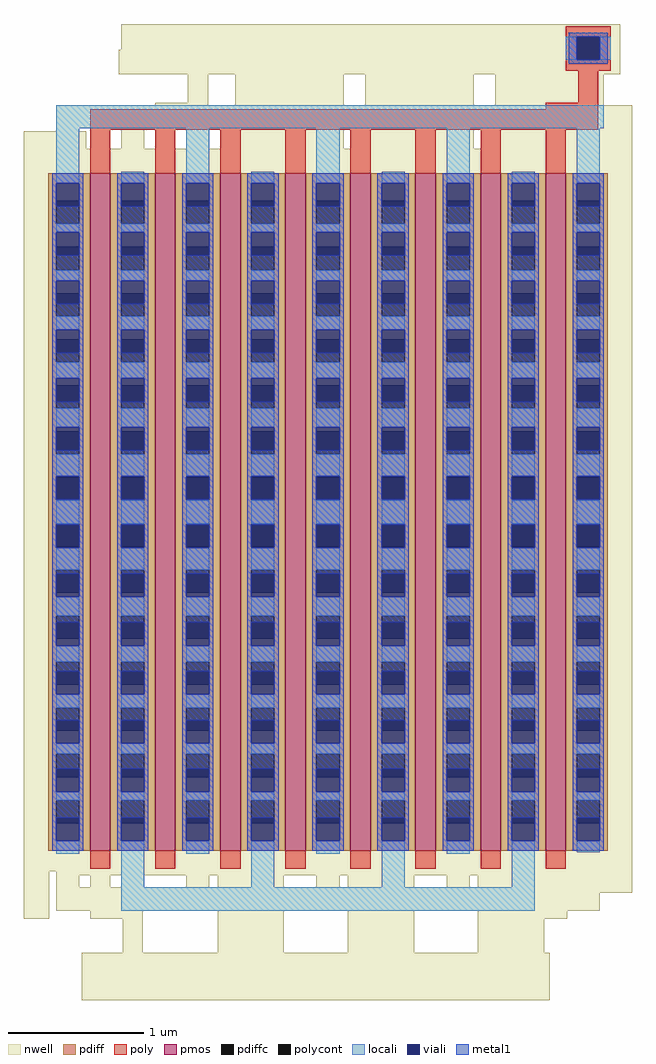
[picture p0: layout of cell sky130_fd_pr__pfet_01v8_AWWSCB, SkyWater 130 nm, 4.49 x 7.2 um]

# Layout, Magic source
magic
tech sky130A
magscale 1 2
<< nwell >>
rect -305 682 431 720
rect -309 646 431 682
rect -207 604 -177 646
rect -255 600 -177 604
rect -137 600 23 646
rect 55 600 215 646
rect 247 600 407 646
rect -401 566 449 600
rect -401 562 -367 566
rect -351 564 449 566
rect -449 536 -357 562
rect -351 536 -321 564
rect -305 536 -271 564
rect -255 536 -225 564
rect -209 536 -175 564
rect -159 536 23 564
rect 33 536 215 564
rect 225 536 449 564
rect -449 -530 449 536
rect -449 -600 -411 -530
rect -401 -536 449 -530
rect -401 -554 -367 -536
rect -351 -554 -321 -536
rect -305 -554 -271 -536
rect -209 -554 -175 -536
rect -163 -554 -65 -536
rect -17 -554 17 -536
rect 29 -554 127 -536
rect 175 -554 209 -536
rect 221 -554 449 -536
rect -401 -562 449 -554
rect -401 -588 401 -562
rect -351 -600 -273 -588
rect -303 -650 -273 -600
rect -163 -650 -65 -588
rect 29 -650 127 -588
rect 221 -600 353 -588
rect 221 -650 319 -600
rect -363 -720 327 -650
<< pmos >>
rect -351 -500 -321 500
rect -255 -500 -225 500
rect -159 -500 -129 500
rect -63 -500 -33 500
rect 33 -500 63 500
rect 129 -500 159 500
rect 225 -500 255 500
rect 321 -500 351 500
<< pdiff >>
rect -413 459 -351 500
rect -413 425 -401 459
rect -367 425 -351 459
rect -413 391 -351 425
rect -413 357 -401 391
rect -367 357 -351 391
rect -413 323 -351 357
rect -413 289 -401 323
rect -367 289 -351 323
rect -413 255 -351 289
rect -413 221 -401 255
rect -367 221 -351 255
rect -413 187 -351 221
rect -413 153 -401 187
rect -367 153 -351 187
rect -413 119 -351 153
rect -413 85 -401 119
rect -367 85 -351 119
rect -413 51 -351 85
rect -413 17 -401 51
rect -367 17 -351 51
rect -413 -17 -351 17
rect -413 -51 -401 -17
rect -367 -51 -351 -17
rect -413 -85 -351 -51
rect -413 -119 -401 -85
rect -367 -119 -351 -85
rect -413 -153 -351 -119
rect -413 -187 -401 -153
rect -367 -187 -351 -153
rect -413 -221 -351 -187
rect -413 -255 -401 -221
rect -367 -255 -351 -221
rect -413 -289 -351 -255
rect -413 -323 -401 -289
rect -367 -323 -351 -289
rect -413 -357 -351 -323
rect -413 -391 -401 -357
rect -367 -391 -351 -357
rect -413 -425 -351 -391
rect -413 -459 -401 -425
rect -367 -459 -351 -425
rect -413 -500 -351 -459
rect -321 459 -255 500
rect -321 425 -305 459
rect -271 425 -255 459
rect -321 391 -255 425
rect -321 357 -305 391
rect -271 357 -255 391
rect -321 323 -255 357
rect -321 289 -305 323
rect -271 289 -255 323
rect -321 255 -255 289
rect -321 221 -305 255
rect -271 221 -255 255
rect -321 187 -255 221
rect -321 153 -305 187
rect -271 153 -255 187
rect -321 119 -255 153
rect -321 85 -305 119
rect -271 85 -255 119
rect -321 51 -255 85
rect -321 17 -305 51
rect -271 17 -255 51
rect -321 -17 -255 17
rect -321 -51 -305 -17
rect -271 -51 -255 -17
rect -321 -85 -255 -51
rect -321 -119 -305 -85
rect -271 -119 -255 -85
rect -321 -153 -255 -119
rect -321 -187 -305 -153
rect -271 -187 -255 -153
rect -321 -221 -255 -187
rect -321 -255 -305 -221
rect -271 -255 -255 -221
rect -321 -289 -255 -255
rect -321 -323 -305 -289
rect -271 -323 -255 -289
rect -321 -357 -255 -323
rect -321 -391 -305 -357
rect -271 -391 -255 -357
rect -321 -425 -255 -391
rect -321 -459 -305 -425
rect -271 -459 -255 -425
rect -321 -500 -255 -459
rect -225 459 -159 500
rect -225 425 -209 459
rect -175 425 -159 459
rect -225 391 -159 425
rect -225 357 -209 391
rect -175 357 -159 391
rect -225 323 -159 357
rect -225 289 -209 323
rect -175 289 -159 323
rect -225 255 -159 289
rect -225 221 -209 255
rect -175 221 -159 255
rect -225 187 -159 221
rect -225 153 -209 187
rect -175 153 -159 187
rect -225 119 -159 153
rect -225 85 -209 119
rect -175 85 -159 119
rect -225 51 -159 85
rect -225 17 -209 51
rect -175 17 -159 51
rect -225 -17 -159 17
rect -225 -51 -209 -17
rect -175 -51 -159 -17
rect -225 -85 -159 -51
rect -225 -119 -209 -85
rect -175 -119 -159 -85
rect -225 -153 -159 -119
rect -225 -187 -209 -153
rect -175 -187 -159 -153
rect -225 -221 -159 -187
rect -225 -255 -209 -221
rect -175 -255 -159 -221
rect -225 -289 -159 -255
rect -225 -323 -209 -289
rect -175 -323 -159 -289
rect -225 -357 -159 -323
rect -225 -391 -209 -357
rect -175 -391 -159 -357
rect -225 -425 -159 -391
rect -225 -459 -209 -425
rect -175 -459 -159 -425
rect -225 -500 -159 -459
rect -129 459 -63 500
rect -129 425 -113 459
rect -79 425 -63 459
rect -129 391 -63 425
rect -129 357 -113 391
rect -79 357 -63 391
rect -129 323 -63 357
rect -129 289 -113 323
rect -79 289 -63 323
rect -129 255 -63 289
rect -129 221 -113 255
rect -79 221 -63 255
rect -129 187 -63 221
rect -129 153 -113 187
rect -79 153 -63 187
rect -129 119 -63 153
rect -129 85 -113 119
rect -79 85 -63 119
rect -129 51 -63 85
rect -129 17 -113 51
rect -79 17 -63 51
rect -129 -17 -63 17
rect -129 -51 -113 -17
rect -79 -51 -63 -17
rect -129 -85 -63 -51
rect -129 -119 -113 -85
rect -79 -119 -63 -85
rect -129 -153 -63 -119
rect -129 -187 -113 -153
rect -79 -187 -63 -153
rect -129 -221 -63 -187
rect -129 -255 -113 -221
rect -79 -255 -63 -221
rect -129 -289 -63 -255
rect -129 -323 -113 -289
rect -79 -323 -63 -289
rect -129 -357 -63 -323
rect -129 -391 -113 -357
rect -79 -391 -63 -357
rect -129 -425 -63 -391
rect -129 -459 -113 -425
rect -79 -459 -63 -425
rect -129 -500 -63 -459
rect -33 459 33 500
rect -33 425 -17 459
rect 17 425 33 459
rect -33 391 33 425
rect -33 357 -17 391
rect 17 357 33 391
rect -33 323 33 357
rect -33 289 -17 323
rect 17 289 33 323
rect -33 255 33 289
rect -33 221 -17 255
rect 17 221 33 255
rect -33 187 33 221
rect -33 153 -17 187
rect 17 153 33 187
rect -33 119 33 153
rect -33 85 -17 119
rect 17 85 33 119
rect -33 51 33 85
rect -33 17 -17 51
rect 17 17 33 51
rect -33 -17 33 17
rect -33 -51 -17 -17
rect 17 -51 33 -17
rect -33 -85 33 -51
rect -33 -119 -17 -85
rect 17 -119 33 -85
rect -33 -153 33 -119
rect -33 -187 -17 -153
rect 17 -187 33 -153
rect -33 -221 33 -187
rect -33 -255 -17 -221
rect 17 -255 33 -221
rect -33 -289 33 -255
rect -33 -323 -17 -289
rect 17 -323 33 -289
rect -33 -357 33 -323
rect -33 -391 -17 -357
rect 17 -391 33 -357
rect -33 -425 33 -391
rect -33 -459 -17 -425
rect 17 -459 33 -425
rect -33 -500 33 -459
rect 63 459 129 500
rect 63 425 79 459
rect 113 425 129 459
rect 63 391 129 425
rect 63 357 79 391
rect 113 357 129 391
rect 63 323 129 357
rect 63 289 79 323
rect 113 289 129 323
rect 63 255 129 289
rect 63 221 79 255
rect 113 221 129 255
rect 63 187 129 221
rect 63 153 79 187
rect 113 153 129 187
rect 63 119 129 153
rect 63 85 79 119
rect 113 85 129 119
rect 63 51 129 85
rect 63 17 79 51
rect 113 17 129 51
rect 63 -17 129 17
rect 63 -51 79 -17
rect 113 -51 129 -17
rect 63 -85 129 -51
rect 63 -119 79 -85
rect 113 -119 129 -85
rect 63 -153 129 -119
rect 63 -187 79 -153
rect 113 -187 129 -153
rect 63 -221 129 -187
rect 63 -255 79 -221
rect 113 -255 129 -221
rect 63 -289 129 -255
rect 63 -323 79 -289
rect 113 -323 129 -289
rect 63 -357 129 -323
rect 63 -391 79 -357
rect 113 -391 129 -357
rect 63 -425 129 -391
rect 63 -459 79 -425
rect 113 -459 129 -425
rect 63 -500 129 -459
rect 159 459 225 500
rect 159 425 175 459
rect 209 425 225 459
rect 159 391 225 425
rect 159 357 175 391
rect 209 357 225 391
rect 159 323 225 357
rect 159 289 175 323
rect 209 289 225 323
rect 159 255 225 289
rect 159 221 175 255
rect 209 221 225 255
rect 159 187 225 221
rect 159 153 175 187
rect 209 153 225 187
rect 159 119 225 153
rect 159 85 175 119
rect 209 85 225 119
rect 159 51 225 85
rect 159 17 175 51
rect 209 17 225 51
rect 159 -17 225 17
rect 159 -51 175 -17
rect 209 -51 225 -17
rect 159 -85 225 -51
rect 159 -119 175 -85
rect 209 -119 225 -85
rect 159 -153 225 -119
rect 159 -187 175 -153
rect 209 -187 225 -153
rect 159 -221 225 -187
rect 159 -255 175 -221
rect 209 -255 225 -221
rect 159 -289 225 -255
rect 159 -323 175 -289
rect 209 -323 225 -289
rect 159 -357 225 -323
rect 159 -391 175 -357
rect 209 -391 225 -357
rect 159 -425 225 -391
rect 159 -459 175 -425
rect 209 -459 225 -425
rect 159 -500 225 -459
rect 255 459 321 500
rect 255 425 271 459
rect 305 425 321 459
rect 255 391 321 425
rect 255 357 271 391
rect 305 357 321 391
rect 255 323 321 357
rect 255 289 271 323
rect 305 289 321 323
rect 255 255 321 289
rect 255 221 271 255
rect 305 221 321 255
rect 255 187 321 221
rect 255 153 271 187
rect 305 153 321 187
rect 255 119 321 153
rect 255 85 271 119
rect 305 85 321 119
rect 255 51 321 85
rect 255 17 271 51
rect 305 17 321 51
rect 255 -17 321 17
rect 255 -51 271 -17
rect 305 -51 321 -17
rect 255 -85 321 -51
rect 255 -119 271 -85
rect 305 -119 321 -85
rect 255 -153 321 -119
rect 255 -187 271 -153
rect 305 -187 321 -153
rect 255 -221 321 -187
rect 255 -255 271 -221
rect 305 -255 321 -221
rect 255 -289 321 -255
rect 255 -323 271 -289
rect 305 -323 321 -289
rect 255 -357 321 -323
rect 255 -391 271 -357
rect 305 -391 321 -357
rect 255 -425 321 -391
rect 255 -459 271 -425
rect 305 -459 321 -425
rect 255 -500 321 -459
rect 351 459 413 500
rect 351 425 367 459
rect 401 425 413 459
rect 351 391 413 425
rect 351 357 367 391
rect 401 357 413 391
rect 351 323 413 357
rect 351 289 367 323
rect 401 289 413 323
rect 351 255 413 289
rect 351 221 367 255
rect 401 221 413 255
rect 351 187 413 221
rect 351 153 367 187
rect 401 153 413 187
rect 351 119 413 153
rect 351 85 367 119
rect 401 85 413 119
rect 351 51 413 85
rect 351 17 367 51
rect 401 17 413 51
rect 351 -17 413 17
rect 351 -51 367 -17
rect 401 -51 413 -17
rect 351 -85 413 -51
rect 351 -119 367 -85
rect 401 -119 413 -85
rect 351 -153 413 -119
rect 351 -187 367 -153
rect 401 -187 413 -153
rect 351 -221 413 -187
rect 351 -255 367 -221
rect 401 -255 413 -221
rect 351 -289 413 -255
rect 351 -323 367 -289
rect 401 -323 413 -289
rect 351 -357 413 -323
rect 351 -391 367 -357
rect 401 -391 413 -357
rect 351 -425 413 -391
rect 351 -459 367 -425
rect 401 -459 413 -425
rect 351 -500 413 -459
<< pdiffc >>
rect -401 425 -367 459
rect -401 357 -367 391
rect -401 289 -367 323
rect -401 221 -367 255
rect -401 153 -367 187
rect -401 85 -367 119
rect -401 17 -367 51
rect -401 -51 -367 -17
rect -401 -119 -367 -85
rect -401 -187 -367 -153
rect -401 -255 -367 -221
rect -401 -323 -367 -289
rect -401 -391 -367 -357
rect -401 -459 -367 -425
rect -305 425 -271 459
rect -305 357 -271 391
rect -305 289 -271 323
rect -305 221 -271 255
rect -305 153 -271 187
rect -305 85 -271 119
rect -305 17 -271 51
rect -305 -51 -271 -17
rect -305 -119 -271 -85
rect -305 -187 -271 -153
rect -305 -255 -271 -221
rect -305 -323 -271 -289
rect -305 -391 -271 -357
rect -305 -459 -271 -425
rect -209 425 -175 459
rect -209 357 -175 391
rect -209 289 -175 323
rect -209 221 -175 255
rect -209 153 -175 187
rect -209 85 -175 119
rect -209 17 -175 51
rect -209 -51 -175 -17
rect -209 -119 -175 -85
rect -209 -187 -175 -153
rect -209 -255 -175 -221
rect -209 -323 -175 -289
rect -209 -391 -175 -357
rect -209 -459 -175 -425
rect -113 425 -79 459
rect -113 357 -79 391
rect -113 289 -79 323
rect -113 221 -79 255
rect -113 153 -79 187
rect -113 85 -79 119
rect -113 17 -79 51
rect -113 -51 -79 -17
rect -113 -119 -79 -85
rect -113 -187 -79 -153
rect -113 -255 -79 -221
rect -113 -323 -79 -289
rect -113 -391 -79 -357
rect -113 -459 -79 -425
rect -17 425 17 459
rect -17 357 17 391
rect -17 289 17 323
rect -17 221 17 255
rect -17 153 17 187
rect -17 85 17 119
rect -17 17 17 51
rect -17 -51 17 -17
rect -17 -119 17 -85
rect -17 -187 17 -153
rect -17 -255 17 -221
rect -17 -323 17 -289
rect -17 -391 17 -357
rect -17 -459 17 -425
rect 79 425 113 459
rect 79 357 113 391
rect 79 289 113 323
rect 79 221 113 255
rect 79 153 113 187
rect 79 85 113 119
rect 79 17 113 51
rect 79 -51 113 -17
rect 79 -119 113 -85
rect 79 -187 113 -153
rect 79 -255 113 -221
rect 79 -323 113 -289
rect 79 -391 113 -357
rect 79 -459 113 -425
rect 175 425 209 459
rect 175 357 209 391
rect 175 289 209 323
rect 175 221 209 255
rect 175 153 209 187
rect 175 85 209 119
rect 175 17 209 51
rect 175 -51 209 -17
rect 175 -119 209 -85
rect 175 -187 209 -153
rect 175 -255 209 -221
rect 175 -323 209 -289
rect 175 -391 209 -357
rect 175 -459 209 -425
rect 271 425 305 459
rect 271 357 305 391
rect 271 289 305 323
rect 271 221 305 255
rect 271 153 305 187
rect 271 85 305 119
rect 271 17 305 51
rect 271 -51 305 -17
rect 271 -119 305 -85
rect 271 -187 305 -153
rect 271 -255 305 -221
rect 271 -323 305 -289
rect 271 -391 305 -357
rect 271 -459 305 -425
rect 367 425 401 459
rect 367 357 401 391
rect 367 289 401 323
rect 367 221 401 255
rect 367 153 401 187
rect 367 85 401 119
rect 367 17 401 51
rect 367 -51 401 -17
rect 367 -119 401 -85
rect 367 -187 401 -153
rect 367 -255 401 -221
rect 367 -323 401 -289
rect 367 -391 401 -357
rect 367 -459 401 -425
<< poly >>
rect 351 701 417 717
rect 351 667 367 701
rect 401 667 417 701
rect 351 651 417 667
rect 369 604 399 651
rect 321 594 399 604
rect -351 564 399 594
rect -351 500 -321 564
rect -255 500 -225 564
rect -159 500 -129 564
rect -63 500 -33 564
rect 33 500 63 564
rect 129 500 159 564
rect 225 500 255 564
rect 321 500 351 564
rect -351 -526 -321 -500
rect -255 -526 -225 -500
rect -159 -526 -129 -500
rect -63 -526 -33 -500
rect 33 -526 63 -500
rect 129 -526 159 -500
rect 225 -526 255 -500
rect 321 -526 351 -500
<< polycont >>
rect 367 667 401 701
<< locali >>
rect 351 667 367 701
rect 401 667 417 701
rect -401 566 407 600
rect -401 485 -367 566
rect -401 413 -367 425
rect -401 341 -367 357
rect -401 269 -367 289
rect -401 197 -367 221
rect -401 125 -367 153
rect -401 53 -367 85
rect -401 -17 -367 17
rect -401 -85 -367 -53
rect -401 -153 -367 -125
rect -401 -221 -367 -197
rect -401 -289 -367 -269
rect -401 -357 -367 -341
rect -401 -425 -367 -413
rect -401 -504 -367 -485
rect -305 485 -271 502
rect -305 413 -271 425
rect -305 341 -271 357
rect -305 269 -271 289
rect -305 197 -271 221
rect -305 125 -271 153
rect -305 53 -271 85
rect -305 -17 -271 17
rect -305 -85 -271 -53
rect -305 -153 -271 -125
rect -305 -221 -271 -197
rect -305 -289 -271 -269
rect -305 -357 -271 -341
rect -305 -425 -271 -413
rect -305 -554 -271 -485
rect -209 485 -175 566
rect -209 413 -175 425
rect -209 341 -175 357
rect -209 269 -175 289
rect -209 197 -175 221
rect -209 125 -175 153
rect -209 53 -175 85
rect -209 -17 -175 17
rect -209 -85 -175 -53
rect -209 -153 -175 -125
rect -209 -221 -175 -197
rect -209 -289 -175 -269
rect -209 -357 -175 -341
rect -209 -425 -175 -413
rect -209 -504 -175 -485
rect -113 485 -79 502
rect -113 413 -79 425
rect -113 341 -79 357
rect -113 269 -79 289
rect -113 197 -79 221
rect -113 125 -79 153
rect -113 53 -79 85
rect -113 -17 -79 17
rect -113 -85 -79 -53
rect -113 -153 -79 -125
rect -113 -221 -79 -197
rect -113 -289 -79 -269
rect -113 -357 -79 -341
rect -113 -425 -79 -413
rect -113 -554 -79 -485
rect -17 485 17 566
rect -17 413 17 425
rect -17 341 17 357
rect -17 269 17 289
rect -17 197 17 221
rect -17 125 17 153
rect -17 53 17 85
rect -17 -17 17 17
rect -17 -85 17 -53
rect -17 -153 17 -125
rect -17 -221 17 -197
rect -17 -289 17 -269
rect -17 -357 17 -341
rect -17 -425 17 -413
rect -17 -504 17 -485
rect 79 485 113 502
rect 79 413 113 425
rect 79 341 113 357
rect 79 269 113 289
rect 79 197 113 221
rect 79 125 113 153
rect 79 53 113 85
rect 79 -17 113 17
rect 79 -85 113 -53
rect 79 -153 113 -125
rect 79 -221 113 -197
rect 79 -289 113 -269
rect 79 -357 113 -341
rect 79 -425 113 -413
rect 79 -554 113 -485
rect 175 485 209 566
rect 175 413 209 425
rect 175 341 209 357
rect 175 269 209 289
rect 175 197 209 221
rect 175 125 209 153
rect 175 53 209 85
rect 175 -17 209 17
rect 175 -85 209 -53
rect 175 -153 209 -125
rect 175 -221 209 -197
rect 175 -289 209 -269
rect 175 -357 209 -341
rect 175 -425 209 -413
rect 175 -504 209 -485
rect 271 485 305 502
rect 271 413 305 425
rect 271 341 305 357
rect 271 269 305 289
rect 271 197 305 221
rect 271 125 305 153
rect 271 53 305 85
rect 271 -17 305 17
rect 271 -85 305 -53
rect 271 -153 305 -125
rect 271 -221 305 -197
rect 271 -289 305 -269
rect 271 -357 305 -341
rect 271 -425 305 -413
rect 271 -554 305 -485
rect 367 485 401 566
rect 367 413 401 425
rect 367 341 401 357
rect 367 269 401 289
rect 367 197 401 221
rect 367 125 401 153
rect 367 53 401 85
rect 367 -17 401 17
rect 367 -85 401 -53
rect 367 -153 401 -125
rect 367 -221 401 -197
rect 367 -289 401 -269
rect 367 -357 401 -341
rect 367 -425 401 -413
rect 367 -502 401 -485
rect -305 -588 305 -554
<< viali >>
rect 367 667 401 701
rect -401 459 -367 485
rect -401 451 -367 459
rect -401 391 -367 413
rect -401 379 -367 391
rect -401 323 -367 341
rect -401 307 -367 323
rect -401 255 -367 269
rect -401 235 -367 255
rect -401 187 -367 197
rect -401 163 -367 187
rect -401 119 -367 125
rect -401 91 -367 119
rect -401 51 -367 53
rect -401 19 -367 51
rect -401 -51 -367 -19
rect -401 -53 -367 -51
rect -401 -119 -367 -91
rect -401 -125 -367 -119
rect -401 -187 -367 -163
rect -401 -197 -367 -187
rect -401 -255 -367 -235
rect -401 -269 -367 -255
rect -401 -323 -367 -307
rect -401 -341 -367 -323
rect -401 -391 -367 -379
rect -401 -413 -367 -391
rect -401 -459 -367 -451
rect -401 -485 -367 -459
rect -305 459 -271 485
rect -305 451 -271 459
rect -305 391 -271 413
rect -305 379 -271 391
rect -305 323 -271 341
rect -305 307 -271 323
rect -305 255 -271 269
rect -305 235 -271 255
rect -305 187 -271 197
rect -305 163 -271 187
rect -305 119 -271 125
rect -305 91 -271 119
rect -305 51 -271 53
rect -305 19 -271 51
rect -305 -51 -271 -19
rect -305 -53 -271 -51
rect -305 -119 -271 -91
rect -305 -125 -271 -119
rect -305 -187 -271 -163
rect -305 -197 -271 -187
rect -305 -255 -271 -235
rect -305 -269 -271 -255
rect -305 -323 -271 -307
rect -305 -341 -271 -323
rect -305 -391 -271 -379
rect -305 -413 -271 -391
rect -305 -459 -271 -451
rect -305 -485 -271 -459
rect -209 459 -175 485
rect -209 451 -175 459
rect -209 391 -175 413
rect -209 379 -175 391
rect -209 323 -175 341
rect -209 307 -175 323
rect -209 255 -175 269
rect -209 235 -175 255
rect -209 187 -175 197
rect -209 163 -175 187
rect -209 119 -175 125
rect -209 91 -175 119
rect -209 51 -175 53
rect -209 19 -175 51
rect -209 -51 -175 -19
rect -209 -53 -175 -51
rect -209 -119 -175 -91
rect -209 -125 -175 -119
rect -209 -187 -175 -163
rect -209 -197 -175 -187
rect -209 -255 -175 -235
rect -209 -269 -175 -255
rect -209 -323 -175 -307
rect -209 -341 -175 -323
rect -209 -391 -175 -379
rect -209 -413 -175 -391
rect -209 -459 -175 -451
rect -209 -485 -175 -459
rect -113 459 -79 485
rect -113 451 -79 459
rect -113 391 -79 413
rect -113 379 -79 391
rect -113 323 -79 341
rect -113 307 -79 323
rect -113 255 -79 269
rect -113 235 -79 255
rect -113 187 -79 197
rect -113 163 -79 187
rect -113 119 -79 125
rect -113 91 -79 119
rect -113 51 -79 53
rect -113 19 -79 51
rect -113 -51 -79 -19
rect -113 -53 -79 -51
rect -113 -119 -79 -91
rect -113 -125 -79 -119
rect -113 -187 -79 -163
rect -113 -197 -79 -187
rect -113 -255 -79 -235
rect -113 -269 -79 -255
rect -113 -323 -79 -307
rect -113 -341 -79 -323
rect -113 -391 -79 -379
rect -113 -413 -79 -391
rect -113 -459 -79 -451
rect -113 -485 -79 -459
rect -17 459 17 485
rect -17 451 17 459
rect -17 391 17 413
rect -17 379 17 391
rect -17 323 17 341
rect -17 307 17 323
rect -17 255 17 269
rect -17 235 17 255
rect -17 187 17 197
rect -17 163 17 187
rect -17 119 17 125
rect -17 91 17 119
rect -17 51 17 53
rect -17 19 17 51
rect -17 -51 17 -19
rect -17 -53 17 -51
rect -17 -119 17 -91
rect -17 -125 17 -119
rect -17 -187 17 -163
rect -17 -197 17 -187
rect -17 -255 17 -235
rect -17 -269 17 -255
rect -17 -323 17 -307
rect -17 -341 17 -323
rect -17 -391 17 -379
rect -17 -413 17 -391
rect -17 -459 17 -451
rect -17 -485 17 -459
rect 79 459 113 485
rect 79 451 113 459
rect 79 391 113 413
rect 79 379 113 391
rect 79 323 113 341
rect 79 307 113 323
rect 79 255 113 269
rect 79 235 113 255
rect 79 187 113 197
rect 79 163 113 187
rect 79 119 113 125
rect 79 91 113 119
rect 79 51 113 53
rect 79 19 113 51
rect 79 -51 113 -19
rect 79 -53 113 -51
rect 79 -119 113 -91
rect 79 -125 113 -119
rect 79 -187 113 -163
rect 79 -197 113 -187
rect 79 -255 113 -235
rect 79 -269 113 -255
rect 79 -323 113 -307
rect 79 -341 113 -323
rect 79 -391 113 -379
rect 79 -413 113 -391
rect 79 -459 113 -451
rect 79 -485 113 -459
rect 175 459 209 485
rect 175 451 209 459
rect 175 391 209 413
rect 175 379 209 391
rect 175 323 209 341
rect 175 307 209 323
rect 175 255 209 269
rect 175 235 209 255
rect 175 187 209 197
rect 175 163 209 187
rect 175 119 209 125
rect 175 91 209 119
rect 175 51 209 53
rect 175 19 209 51
rect 175 -51 209 -19
rect 175 -53 209 -51
rect 175 -119 209 -91
rect 175 -125 209 -119
rect 175 -187 209 -163
rect 175 -197 209 -187
rect 175 -255 209 -235
rect 175 -269 209 -255
rect 175 -323 209 -307
rect 175 -341 209 -323
rect 175 -391 209 -379
rect 175 -413 209 -391
rect 175 -459 209 -451
rect 175 -485 209 -459
rect 271 459 305 485
rect 271 451 305 459
rect 271 391 305 413
rect 271 379 305 391
rect 271 323 305 341
rect 271 307 305 323
rect 271 255 305 269
rect 271 235 305 255
rect 271 187 305 197
rect 271 163 305 187
rect 271 119 305 125
rect 271 91 305 119
rect 271 51 305 53
rect 271 19 305 51
rect 271 -51 305 -19
rect 271 -53 305 -51
rect 271 -119 305 -91
rect 271 -125 305 -119
rect 271 -187 305 -163
rect 271 -197 305 -187
rect 271 -255 305 -235
rect 271 -269 305 -255
rect 271 -323 305 -307
rect 271 -341 305 -323
rect 271 -391 305 -379
rect 271 -413 305 -391
rect 271 -459 305 -451
rect 271 -485 305 -459
rect 367 459 401 485
rect 367 451 401 459
rect 367 391 401 413
rect 367 379 401 391
rect 367 323 401 341
rect 367 307 401 323
rect 367 255 401 269
rect 367 235 401 255
rect 367 187 401 197
rect 367 163 401 187
rect 367 119 401 125
rect 367 91 401 119
rect 367 51 401 53
rect 367 19 401 51
rect 367 -51 401 -19
rect 367 -53 401 -51
rect 367 -119 401 -91
rect 367 -125 401 -119
rect 367 -187 401 -163
rect 367 -197 401 -187
rect 367 -255 401 -235
rect 367 -269 401 -255
rect 367 -323 401 -307
rect 367 -341 401 -323
rect 367 -391 401 -379
rect 367 -413 401 -391
rect 367 -459 401 -451
rect 367 -485 401 -459
<< metal1 >>
rect 355 701 413 707
rect 355 667 367 701
rect 401 667 413 701
rect 355 661 413 667
rect -407 485 -361 500
rect -407 451 -401 485
rect -367 451 -361 485
rect -407 413 -361 451
rect -407 379 -401 413
rect -367 379 -361 413
rect -407 341 -361 379
rect -407 307 -401 341
rect -367 307 -361 341
rect -407 269 -361 307
rect -407 235 -401 269
rect -367 235 -361 269
rect -407 197 -361 235
rect -407 163 -401 197
rect -367 163 -361 197
rect -407 125 -361 163
rect -407 91 -401 125
rect -367 91 -361 125
rect -407 53 -361 91
rect -407 19 -401 53
rect -367 19 -361 53
rect -407 -19 -361 19
rect -407 -53 -401 -19
rect -367 -53 -361 -19
rect -407 -91 -361 -53
rect -407 -125 -401 -91
rect -367 -125 -361 -91
rect -407 -163 -361 -125
rect -407 -197 -401 -163
rect -367 -197 -361 -163
rect -407 -235 -361 -197
rect -407 -269 -401 -235
rect -367 -269 -361 -235
rect -407 -307 -361 -269
rect -407 -341 -401 -307
rect -367 -341 -361 -307
rect -407 -379 -361 -341
rect -407 -413 -401 -379
rect -367 -413 -361 -379
rect -407 -451 -361 -413
rect -407 -485 -401 -451
rect -367 -485 -361 -451
rect -407 -500 -361 -485
rect -311 485 -265 500
rect -311 451 -305 485
rect -271 451 -265 485
rect -311 413 -265 451
rect -311 379 -305 413
rect -271 379 -265 413
rect -311 341 -265 379
rect -311 307 -305 341
rect -271 307 -265 341
rect -311 269 -265 307
rect -311 235 -305 269
rect -271 235 -265 269
rect -311 197 -265 235
rect -311 163 -305 197
rect -271 163 -265 197
rect -311 125 -265 163
rect -311 91 -305 125
rect -271 91 -265 125
rect -311 53 -265 91
rect -311 19 -305 53
rect -271 19 -265 53
rect -311 -19 -265 19
rect -311 -53 -305 -19
rect -271 -53 -265 -19
rect -311 -91 -265 -53
rect -311 -125 -305 -91
rect -271 -125 -265 -91
rect -311 -163 -265 -125
rect -311 -197 -305 -163
rect -271 -197 -265 -163
rect -311 -235 -265 -197
rect -311 -269 -305 -235
rect -271 -269 -265 -235
rect -311 -307 -265 -269
rect -311 -341 -305 -307
rect -271 -341 -265 -307
rect -311 -379 -265 -341
rect -311 -413 -305 -379
rect -271 -413 -265 -379
rect -311 -451 -265 -413
rect -311 -485 -305 -451
rect -271 -485 -265 -451
rect -311 -500 -265 -485
rect -215 485 -169 500
rect -215 451 -209 485
rect -175 451 -169 485
rect -215 413 -169 451
rect -215 379 -209 413
rect -175 379 -169 413
rect -215 341 -169 379
rect -215 307 -209 341
rect -175 307 -169 341
rect -215 269 -169 307
rect -215 235 -209 269
rect -175 235 -169 269
rect -215 197 -169 235
rect -215 163 -209 197
rect -175 163 -169 197
rect -215 125 -169 163
rect -215 91 -209 125
rect -175 91 -169 125
rect -215 53 -169 91
rect -215 19 -209 53
rect -175 19 -169 53
rect -215 -19 -169 19
rect -215 -53 -209 -19
rect -175 -53 -169 -19
rect -215 -91 -169 -53
rect -215 -125 -209 -91
rect -175 -125 -169 -91
rect -215 -163 -169 -125
rect -215 -197 -209 -163
rect -175 -197 -169 -163
rect -215 -235 -169 -197
rect -215 -269 -209 -235
rect -175 -269 -169 -235
rect -215 -307 -169 -269
rect -215 -341 -209 -307
rect -175 -341 -169 -307
rect -215 -379 -169 -341
rect -215 -413 -209 -379
rect -175 -413 -169 -379
rect -215 -451 -169 -413
rect -215 -485 -209 -451
rect -175 -485 -169 -451
rect -215 -500 -169 -485
rect -119 485 -73 500
rect -119 451 -113 485
rect -79 451 -73 485
rect -119 413 -73 451
rect -119 379 -113 413
rect -79 379 -73 413
rect -119 341 -73 379
rect -119 307 -113 341
rect -79 307 -73 341
rect -119 269 -73 307
rect -119 235 -113 269
rect -79 235 -73 269
rect -119 197 -73 235
rect -119 163 -113 197
rect -79 163 -73 197
rect -119 125 -73 163
rect -119 91 -113 125
rect -79 91 -73 125
rect -119 53 -73 91
rect -119 19 -113 53
rect -79 19 -73 53
rect -119 -19 -73 19
rect -119 -53 -113 -19
rect -79 -53 -73 -19
rect -119 -91 -73 -53
rect -119 -125 -113 -91
rect -79 -125 -73 -91
rect -119 -163 -73 -125
rect -119 -197 -113 -163
rect -79 -197 -73 -163
rect -119 -235 -73 -197
rect -119 -269 -113 -235
rect -79 -269 -73 -235
rect -119 -307 -73 -269
rect -119 -341 -113 -307
rect -79 -341 -73 -307
rect -119 -379 -73 -341
rect -119 -413 -113 -379
rect -79 -413 -73 -379
rect -119 -451 -73 -413
rect -119 -485 -113 -451
rect -79 -485 -73 -451
rect -119 -500 -73 -485
rect -23 485 23 500
rect -23 451 -17 485
rect 17 451 23 485
rect -23 413 23 451
rect -23 379 -17 413
rect 17 379 23 413
rect -23 341 23 379
rect -23 307 -17 341
rect 17 307 23 341
rect -23 269 23 307
rect -23 235 -17 269
rect 17 235 23 269
rect -23 197 23 235
rect -23 163 -17 197
rect 17 163 23 197
rect -23 125 23 163
rect -23 91 -17 125
rect 17 91 23 125
rect -23 53 23 91
rect -23 19 -17 53
rect 17 19 23 53
rect -23 -19 23 19
rect -23 -53 -17 -19
rect 17 -53 23 -19
rect -23 -91 23 -53
rect -23 -125 -17 -91
rect 17 -125 23 -91
rect -23 -163 23 -125
rect -23 -197 -17 -163
rect 17 -197 23 -163
rect -23 -235 23 -197
rect -23 -269 -17 -235
rect 17 -269 23 -235
rect -23 -307 23 -269
rect -23 -341 -17 -307
rect 17 -341 23 -307
rect -23 -379 23 -341
rect -23 -413 -17 -379
rect 17 -413 23 -379
rect -23 -451 23 -413
rect -23 -485 -17 -451
rect 17 -485 23 -451
rect -23 -500 23 -485
rect 73 485 119 500
rect 73 451 79 485
rect 113 451 119 485
rect 73 413 119 451
rect 73 379 79 413
rect 113 379 119 413
rect 73 341 119 379
rect 73 307 79 341
rect 113 307 119 341
rect 73 269 119 307
rect 73 235 79 269
rect 113 235 119 269
rect 73 197 119 235
rect 73 163 79 197
rect 113 163 119 197
rect 73 125 119 163
rect 73 91 79 125
rect 113 91 119 125
rect 73 53 119 91
rect 73 19 79 53
rect 113 19 119 53
rect 73 -19 119 19
rect 73 -53 79 -19
rect 113 -53 119 -19
rect 73 -91 119 -53
rect 73 -125 79 -91
rect 113 -125 119 -91
rect 73 -163 119 -125
rect 73 -197 79 -163
rect 113 -197 119 -163
rect 73 -235 119 -197
rect 73 -269 79 -235
rect 113 -269 119 -235
rect 73 -307 119 -269
rect 73 -341 79 -307
rect 113 -341 119 -307
rect 73 -379 119 -341
rect 73 -413 79 -379
rect 113 -413 119 -379
rect 73 -451 119 -413
rect 73 -485 79 -451
rect 113 -485 119 -451
rect 73 -500 119 -485
rect 169 485 215 500
rect 169 451 175 485
rect 209 451 215 485
rect 169 413 215 451
rect 169 379 175 413
rect 209 379 215 413
rect 169 341 215 379
rect 169 307 175 341
rect 209 307 215 341
rect 169 269 215 307
rect 169 235 175 269
rect 209 235 215 269
rect 169 197 215 235
rect 169 163 175 197
rect 209 163 215 197
rect 169 125 215 163
rect 169 91 175 125
rect 209 91 215 125
rect 169 53 215 91
rect 169 19 175 53
rect 209 19 215 53
rect 169 -19 215 19
rect 169 -53 175 -19
rect 209 -53 215 -19
rect 169 -91 215 -53
rect 169 -125 175 -91
rect 209 -125 215 -91
rect 169 -163 215 -125
rect 169 -197 175 -163
rect 209 -197 215 -163
rect 169 -235 215 -197
rect 169 -269 175 -235
rect 209 -269 215 -235
rect 169 -307 215 -269
rect 169 -341 175 -307
rect 209 -341 215 -307
rect 169 -379 215 -341
rect 169 -413 175 -379
rect 209 -413 215 -379
rect 169 -451 215 -413
rect 169 -485 175 -451
rect 209 -485 215 -451
rect 169 -500 215 -485
rect 265 485 311 500
rect 265 451 271 485
rect 305 451 311 485
rect 265 413 311 451
rect 265 379 271 413
rect 305 379 311 413
rect 265 341 311 379
rect 265 307 271 341
rect 305 307 311 341
rect 265 269 311 307
rect 265 235 271 269
rect 305 235 311 269
rect 265 197 311 235
rect 265 163 271 197
rect 305 163 311 197
rect 265 125 311 163
rect 265 91 271 125
rect 305 91 311 125
rect 265 53 311 91
rect 265 19 271 53
rect 305 19 311 53
rect 265 -19 311 19
rect 265 -53 271 -19
rect 305 -53 311 -19
rect 265 -91 311 -53
rect 265 -125 271 -91
rect 305 -125 311 -91
rect 265 -163 311 -125
rect 265 -197 271 -163
rect 305 -197 311 -163
rect 265 -235 311 -197
rect 265 -269 271 -235
rect 305 -269 311 -235
rect 265 -307 311 -269
rect 265 -341 271 -307
rect 305 -341 311 -307
rect 265 -379 311 -341
rect 265 -413 271 -379
rect 305 -413 311 -379
rect 265 -451 311 -413
rect 265 -485 271 -451
rect 305 -485 311 -451
rect 265 -500 311 -485
rect 361 485 407 500
rect 361 451 367 485
rect 401 451 407 485
rect 361 413 407 451
rect 361 379 367 413
rect 401 379 407 413
rect 361 341 407 379
rect 361 307 367 341
rect 401 307 407 341
rect 361 269 407 307
rect 361 235 367 269
rect 401 235 407 269
rect 361 197 407 235
rect 361 163 367 197
rect 401 163 407 197
rect 361 125 407 163
rect 361 91 367 125
rect 401 91 407 125
rect 361 53 407 91
rect 361 19 367 53
rect 401 19 407 53
rect 361 -19 407 19
rect 361 -53 367 -19
rect 401 -53 407 -19
rect 361 -91 407 -53
rect 361 -125 367 -91
rect 401 -125 407 -91
rect 361 -163 407 -125
rect 361 -197 367 -163
rect 401 -197 407 -163
rect 361 -235 407 -197
rect 361 -269 367 -235
rect 401 -269 407 -235
rect 361 -307 407 -269
rect 361 -341 367 -307
rect 401 -341 407 -307
rect 361 -379 407 -341
rect 361 -413 367 -379
rect 401 -413 407 -379
rect 361 -451 407 -413
rect 361 -485 367 -451
rect 401 -485 407 -451
rect 361 -500 407 -485
<< end >>
